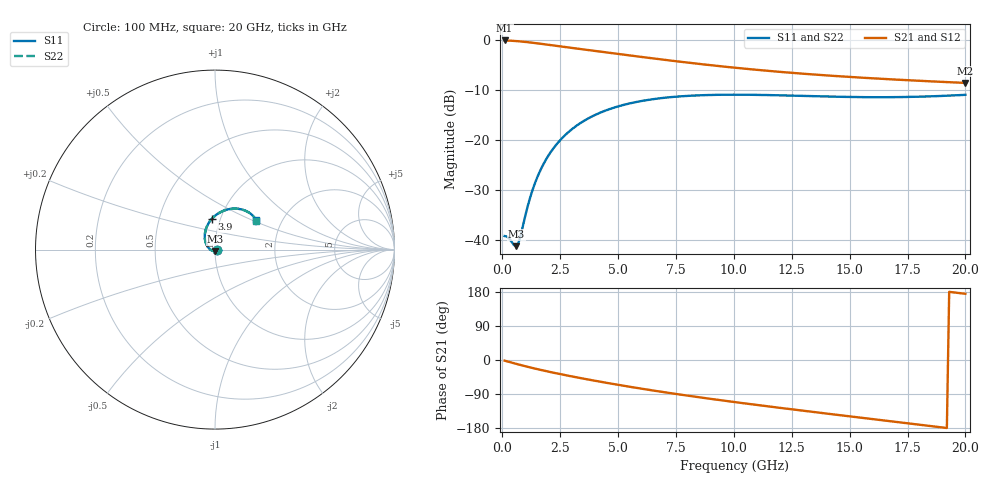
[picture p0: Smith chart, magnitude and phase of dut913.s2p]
! Touchstone file exported from HFSS 2024.1.0
!  File:  C:/UserFiles/LocalFiles/RDL_TSV_Batchsim/temp_RDL_TSV_913_1779956488.aedt
!  Generated:  04:34:57 PM May 28, 2026
!  Design:  RDL_TSV
!  Project:  temp_RDL_TSV_913_1779956488
!  Setup:  Setup1
!  Solution:  Sweep
! Variables:
!  dtsv = 13.7um
!  hbump = 3um
!  htsv = 63.31um
!  ldown = 422.93um
!  lrdl = 352.14um
!  p = 40
!  p1 = 52.16um
!  rhole = 10um
!  subl = 2677.35um
!  t = 450um
!  tdown = 4.93um
!  trdl = 3.4um
!  viad = 10um
!  wdown = 23.1um
!  wrdl = 23.11um
!  xbump = 18um
# GHz S MA R 50.000000
! Terminal data exported
! Port[1] = TM1_1_T1
! Port[2] = TM1_4_T1
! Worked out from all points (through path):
!   200 points, 100 MHz to 20 GHz, reference 50 ohm
!   highest |S21| = -0.10 dB at 100 MHz (marker M1); lowest = -8.6 dB at 20 GHz (marker M2)
!   group delay of S21, straight-line fit = 24.2 ps
!   lowest |S11| = -41.3 dB at 600 MHz (marker M3), VSWR 1.02, Z = 50.1 - j0.859 ohm
!   |S11| at or under -10 dB: start of sweep to end of sweep
!   |S22| runs from -41.3 to -11.0 dB; largest |S21 - S12| = 1.7e-14
!   S11 on the Smith chart (normalised r, x): 100 MHz: 1.02, -0.00; 3.9 GHz: 0.91, +0.32; 20 GHz: 1.49, +0.53
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0.1  0.01088 -7.3  0.9885 -1.8  0.9885 -1.8  0.01088 -7.3
! Gamma 0 0 0 0
! Port Impedance 50 0 50 0
0.3  0.01028 -28.1  0.9845 -5.2  0.9845 -5.2  0.01028 -28.1
0.5  0.008851 -61.9  0.9783 -8.5  0.9783 -8.5  0.008848 -61.9
0.6  0.008611 -85.2  0.9746 -10.2  0.9746 -10.2  0.008607 -85.3
0.7  0.009324 -110.3  0.9704 -11.8  0.9704 -11.8  0.00932 -110.3
0.8  0.01119 -132.5  0.9658 -13.4  0.9658 -13.4  0.01118 -132.5
1.1  0.02174 -173.1  0.9499 -18.1  0.9499 -18.1  0.02174 -173.2
1.3  0.03113 171.7  0.9382 -21.1  0.9382 -21.1  0.03113 171.6
1.5  0.04157 160.4  0.9258 -23.9  0.9258 -23.9  0.04156 160.3
1.8  0.05838 147.2  0.9068 -28.1  0.9068 -28.1  0.05837 147.2
2.1  0.07586 136.6  0.8877 -32.1  0.8877 -32.1  0.07584 136.6
2.5  0.09923 125.0  0.8627 -37.2  0.8627 -37.2  0.09921 124.9
3  0.1274 112.9  0.8327 -43.3  0.8327 -43.3  0.1274 112.9
3.5  0.1535 102.8  0.804 -49.1  0.804 -49.1  0.1535 102.8
3.9  0.1726 95.8  0.7818 -53.7  0.7818 -53.7  0.1726 95.7
5.2  0.2226 77.3  0.7145 -67.6  0.7145 -67.6  0.2225 77.2
6.8  0.2605 60.9  0.6411 -83.2  0.6411 -83.2  0.2604 60.8
8.4  0.2784 49.2  0.5791 -97.5  0.5791 -97.5  0.2783 49.1
10.1  0.2831 40.6  0.5256 -111.6  0.5256 -111.6  0.283 40.5
13.4  0.2737 32.5  0.4517 -136.9  0.4517 -136.9  0.2735 32.4
16.7  0.2672 32.4  0.4043 -161.2  0.4043 -161.2  0.2669 32.2
20  0.2822 35.2  0.3713 174.7  0.3713 174.7  0.2816 35.0
